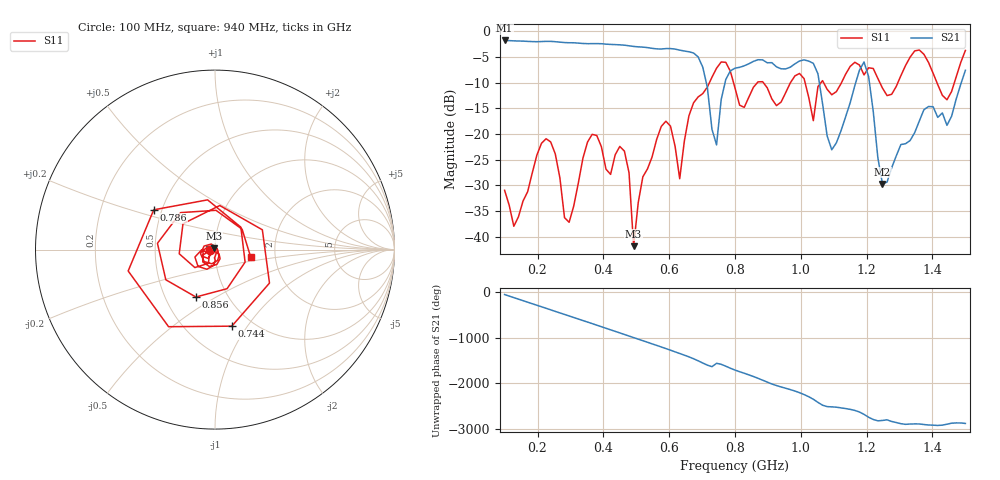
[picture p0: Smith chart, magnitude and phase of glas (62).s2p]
! NanoVNA-App
! Date: 2025-09-25 15:55:57
! Start: 100MHz Stop: 1,5GHz Points: 101
! S-Parameter data: F S11 S21 S12 S22
# Hz S RI R 50
!  Frequency  S11_Real  S11_Imag  S21_Real  S21_Imag  S12_Real  S12_Imag  S22_Real  S22_Imag
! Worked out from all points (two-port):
!   101 points, 100 MHz to 1.5 GHz, reference 50 ohm
!   highest |S21| = -1.80 dB at 100 MHz (marker M1); lowest = -29.7 dB at 1.248 GHz (marker M2)
!   |S21| within 3 dB of the highest: start of sweep to 684.3 MHz
!   lowest |S11| = -41.8 dB at 492 MHz (marker M3), VSWR 1.02, Z = 49.5 + j0.616 ohm
!   |S11| at or under -10 dB: start of sweep to 722.4 MHz; 795.5 MHz to 868.1 MHz (72.63 MHz wide, 8.73 % of centre); 886 MHz to 968.6 MHz (82.58 MHz wide, 8.91 % of centre) (the widest 3 of 7)
!   S12 and S22 are empty: the file has one direction only
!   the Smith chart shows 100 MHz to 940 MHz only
!   S11 on the Smith chart (normalised r, x): 100 MHz: 0.95, -0.01; 744 MHz: 0.81, -0.85; 786 MHz: 0.45, +0.24; 856 MHz: 0.71, -0.41; 940 MHz: 1.49, -0.14
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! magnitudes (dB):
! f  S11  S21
! 100 MHz  -31.0  -1.8
! 128 MHz  -38.0  -1.9
! 226 MHz  -20.9  -2.0
! 296 MHz  -37.2  -2.2
! 338 MHz  -24.7  -2.4
! 464 MHz  -23.3  -2.7
! 492 MHz  -41.8  -3.0
! 576 MHz  -18.5  -3.5
! 632 MHz  -28.7  -3.7
! 702 MHz  -12.1  -7.0
! 744 MHz  -7.2  -22.1
! 786 MHz  -7.8  -7.7
! 800 MHz  -11.1  -7.2
! 856 MHz  -10.9  -5.9
! 940 MHz  -13.8  -7.3
! 996 MHz  -8.2  -5.8
! 1.038 GHz  -17.4  -6.3
! 1.094 GHz  -12.4  -23.1
! 1.192 GHz  -8.5  -6.0
! 1.248 GHz  -11.1  -29.7
! 1.276 GHz  -12.3  -26.6
! 1.5 GHz  -3.7  -7.6
